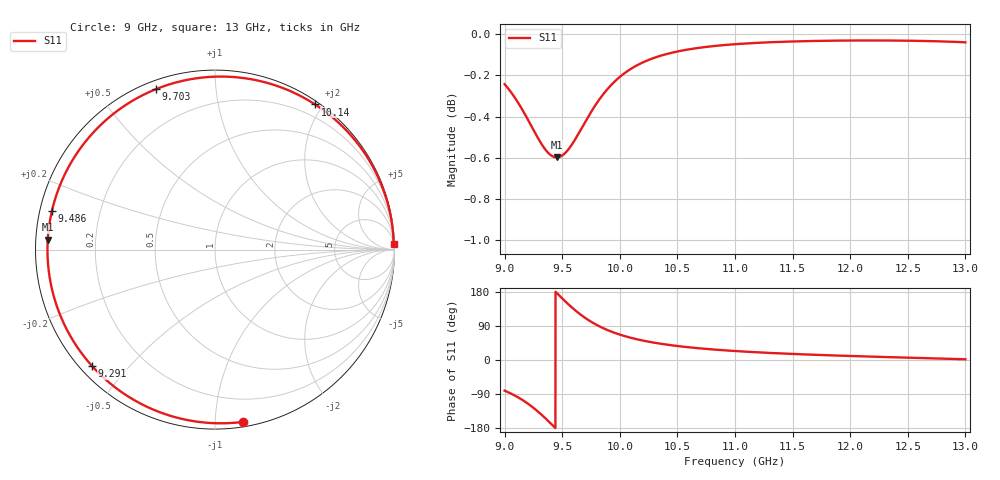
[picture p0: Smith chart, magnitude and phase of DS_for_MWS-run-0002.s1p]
! TOUCHSTONE file generated by CST DESIGN STUDIO
! Date and time: Tue Feb  4 12:47:52 2025
! Project name: C:\Work\MatlabApps\UnitCellOptimizationMatlab\CST\unitcell.cst
! Tree item: Tasks\Sweep1\SPara1\S-Parameters
! Header version: 2024
! Port assignment regex: !\s*Touchstone port\s*([0-9]+)\s*=\s*(CST MWS port|CST DES external port|CST DES block port)\s*(.+)\s* \(\"(.*)\"\)(\s*mode\s*([0-9]+))?.*
! Touchstone port assignment:
! Touchstone port 1 = CST DES external port 1 ("")
# GHz S MA R 50
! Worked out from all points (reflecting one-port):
!   4001 points, 9 GHz to 13 GHz, reference 50 ohm
!   lowest |S11| = -0.6 dB at 9.453 GHz (marker M1), VSWR 29.03, Z = 1.72 + j1.46 ohm
!   phase of S11 starts at -81 deg and turns -277 deg over the sweep
!   S11 on the Smith chart (normalised r, x): 9 GHz: 0.03, -1.17; 9.291 GHz: 0.03, -0.40; 9.486 GHz: 0.03, +0.12; 9.703 GHz: 0.04, +0.70; 10.14 GHz: 0.04, +1.90; 13 GHz: 8, +60
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9  0.9724 -80.9
9.09  0.965 -94.0
9.163  0.9577 -107.1
9.229  0.9503 -121.2
9.291  0.9434 -136.4
9.333  0.9392 -147.8
9.378  0.9358 -160.8
9.416  0.934 -172.1
9.453  0.9334 176.7
9.486  0.9339 166.7
9.5  0.9344 162.5
9.553  0.9375 147.2
9.602  0.9418 133.9
9.651  0.9469 121.8
9.703  0.9525 110.3
9.76  0.9584 99.3
9.825  0.9644 88.5
9.91  0.971 76.9
10  0.9764 67.0
10.139  0.9824 55.4
10.302  0.987 45.5
10.5  0.9904 36.9
10.723  0.9927 30.0
11  0.9944 23.7
11.5  0.996 16.0
12  0.9965 10.6
12.5  0.9964 6.2
13  0.9955 1.9
